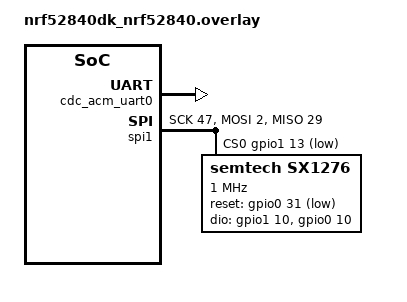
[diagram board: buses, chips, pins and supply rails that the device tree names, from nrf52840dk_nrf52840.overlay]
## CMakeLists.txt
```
cmake_minimum_required(VERSION 3.8.2)

#Board selection inside zephyr
#set(BOARD nrf52840dk_nrf52840)
#set(BOARD nrf5340pdk_nrf5340_cpunet)
#set(BOARD nrf5340pdk_nrf5340_cpuapp)
set(BOARD nrf52840dongle_nrf52840)
#set(BOARD nrf52840dk_nrf52811)
#Board selection outside zephyr
#set(BOARD_ROOT ./board)

#Toolchain selection
#set(TOOLCHAIN C:/gnuarmemb)

#Zephyr selection
#set(ZEPHYR_BASE L:/Github/ncs/zephyr)
#set(ZEPHYR_BASE C:/Users/raffa/Github/ncs-workspace-1.6.1/zephyr)

find_package(Zephyr REQUIRED HINTS $ENV{ZEPHYR_BASE})

project(NONE)

#Include Simple Zephyr Library
add_subdirectory_ifdef(CONFIG_SZL_ENABLE szl)

# Include all files in folder src
FILE(GLOB app_sources_c src/*.c)
FILE(GLOB app_sources_cpp src/*.cpp)

target_sources(app PRIVATE
	${app_sources_c} ${app_sources_cpp})

target_include_directories(app PRIVATE include)
```

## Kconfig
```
rsource "szl/Kconfig"
source "Kconfig.zephyr"
```

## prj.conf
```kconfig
#Stdout config
CONFIG_SERIAL=y
CONFIG_STDOUT_CONSOLE=y

#Simple Zephyr Library
CONFIG_SZL_ENABLE=y
CONFIG_SZL_LORA_ENABLE=y
CONFIG_SZL_USB_CDC_ACM_ENABLE=y
CONFIG_SZL_LEB128_ENABLE=y

#For nRF52 Dongle if flashed over USB
#CONFIG_BOARD_HAS_NRF5_BOOTLOADER=y
#For nRF52 Dongle if flashed over SWD
#CONFIG_BOARD_HAS_NRF5_BOOTLOADER=n


#FOR GPIO
CONFIG_GPIO=y
```

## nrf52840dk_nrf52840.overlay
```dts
#include <dt-bindings/gpio/gpio.h>

/ {
	chosen {
		zephyr,console = &cdc_acm_uart0;
	};
};

&usbd {
	cdc_acm_uart0: cdc_acm_uart0 {
		compatible = "zephyr,cdc-acm-uart";
		label = "CDC_ACM_0";
	};
};


&spi1 {
     status = "okay";
          sck-pin = <47>; /* 1.15 */
       mosi-pin = <2>;
       miso-pin = <29>;
       cs-gpios = <&gpio1 13 GPIO_ACTIVE_LOW>; /* 1.13 */
  
        lora: sx1276@0 {
         compatible = "semtech,sx1276";
         reg = <0>;
         label = "sx1276";
         reset-gpios = <&gpio0 31 GPIO_ACTIVE_LOW>;
         dio-gpios = <&gpio1 10 (GPIO_PULL_DOWN | GPIO_ACTIVE_HIGH)>,<&gpio0 10 (GPIO_PULL_DOWN | GPIO_ACTIVE_HIGH)>;
         spi-max-frequency = <1000000>;
         power-amplifier-output = "pa-boost";
     };  
  };
  
  / {
     aliases {
        lora0 = &lora;
   };
  };
```

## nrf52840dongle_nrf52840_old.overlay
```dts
#include <dt-bindings/gpio/gpio.h>

/ {
	chosen {
		zephyr,console = &cdc_acm_uart0;
	};
};

&usbd {
	cdc_acm_uart0: cdc_acm_uart0 {
		compatible = "zephyr,cdc-acm-uart";
		label = "CDC_ACM_0";
	};
};


&spi1 {
     status = "okay";
          sck-pin = <2>; /* 0.02 */
       mosi-pin = <47>; /* 1.15 */
       miso-pin = <45>; /* 1.13 */
       cs-gpios = <&gpio0 9 GPIO_ACTIVE_LOW>; /* 0.09 */
  
        lora: sx1276@0 {
         compatible = "semtech,sx1276";
         reg = <0>;
         label = "sx1276";
         reset-gpios = <&gpio0 31 GPIO_ACTIVE_LOW>;
         dio-gpios = <&gpio1 0 (GPIO_PULL_DOWN | GPIO_ACTIVE_HIGH)>,<&gpio0 10 (GPIO_PULL_DOWN | GPIO_ACTIVE_HIGH)>;
         spi-max-frequency = <1000000>;
         power-amplifier-output = "pa-boost";
     };
  
  };
  
  / {
     aliases {
        lora0 = &lora;
   };
  };
```

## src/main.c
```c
#include <zephyr.h>

#include <stdlib.h>
#include <stdio.h>
#include <string.h>

#include <szl_usb_cdc_acm.h>
#include <szl_lora.h>
#include <szl_leb128.h>

//Data structure
struct Smart_Meter_data_t {
    uint16_t Strom_L1;
    uint16_t Strom_L2;
    uint16_t Strom_L3;
    uint32_t Wirkleistungsbezug;
    uint32_t Wirkenergiebezug_Tarif_1;
    uint32_t Wirkenergiebezug_Tarif_2;
};

const struct Smart_Meter_data_t Smart_Meter_data_init;
struct Smart_Meter_data_t Smart_Meter_data;
uint8_t new_data_bitmask[1];  


/**@brief Function for application main entry.
 */
void main(void)
{
  //Init USB CDC ACM
  szl_init_usb_cdc_acm();
  // Start Application
  printk("Starting Application...\n");
  //Init LoRa
  szl_lora_init();
  while (1)
  {
    static uint8_t buffer[255];
    static uint8_t buf_size;
    // Wait for the Receive LoRa
    buf_size = szl_lora_recv(buffer);
    printk("Received len: %u\n",buf_size);
    printk("Received : %u\n",buffer[0]);
    printk("Received : %u\n",buffer[1]);
    printk("Received : %u\n",buffer[2]);
    //Decode Message 
    Smart_Meter_data = Smart_Meter_data_init;   
    static int pos;
    pos = 0;
    pos += szl_decode_uleb128(&buffer[pos],&new_data_bitmask[0]);
    printk("Bitmask: %u\n",new_data_bitmask[0]);
    if (new_data_bitmask[0] & (1 << 0))
    {
      pos += szl_decode_uleb128(&buffer[pos],&Smart_Meter_data.Strom_L1);
    }
    if (new_data_bitmask[0] & (1 << 1))
    {
      pos += szl_decode_uleb128(&buffer[pos],&Smart_Meter_data.Strom_L2);
    }
    if (new_data_bitmask[0] & (1 << 2))
    {
      pos += szl_decode_uleb128(&buffer[pos],&Smart_Meter_data.Strom_L3);
    }
    if (new_data_bitmask[0] & (1 << 3))
    {
      pos += szl_decode_uleb128(&buffer[pos],&Smart_Meter_data.Wirkleistungsbezug);
    }
    if (new_data_bitmask[0] & (1 << 4))
    {
      pos += szl_decode_uleb128(&buffer[pos],&Smart_Meter_data.Wirkenergiebezug_Tarif_1);
    }
    if (new_data_bitmask[0] & (1 << 5))
    {
      pos += szl_decode_uleb128(&buffer[pos],&Smart_Meter_data.Wirkenergiebezug_Tarif_2);
    } 
    printk("Message Decoded Size: %u\n",pos); 
    printk("Current L3: %u\n",Smart_Meter_data.Strom_L3);  
    
    break; //Testmode  
    printk("Done\n");  
  }
  
}
```

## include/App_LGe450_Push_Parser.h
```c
//https://stackoverflow.com/questions/43537587/c-function-calling-c-member-function-where-the-c-code-is-compiled-with-a-c-c

#ifndef APP_LGe450_PUSH_PARSER_H_
#define APP_LGe450_PUSH_PARSER_H_

#ifdef __cplusplus
extern "C" {
#endif

//Data structure
struct Smart_Meter_data_t {
    uint16_t Strom_L1;
    uint16_t Strom_L2;
    uint16_t Strom_L3;
    uint32_t Wirkleistungsbezug;
    uint32_t Wirkenergiebezug_Tarif_1;
    uint32_t Wirkenergiebezug_Tarif_2;
};

//Number of struct elements for new_data_bitmask = n_data / 8 -> round up to byte
extern uint8_t new_data_bitmask[1];  

//Data
extern const struct Smart_Meter_data_t Smart_Meter_data_init;
extern struct Smart_Meter_data_t Smart_Meter_data;

#if defined(__cplusplus)
}
#endif

#endif //APP_LGe450_PUSH_PARSER_H_
```
